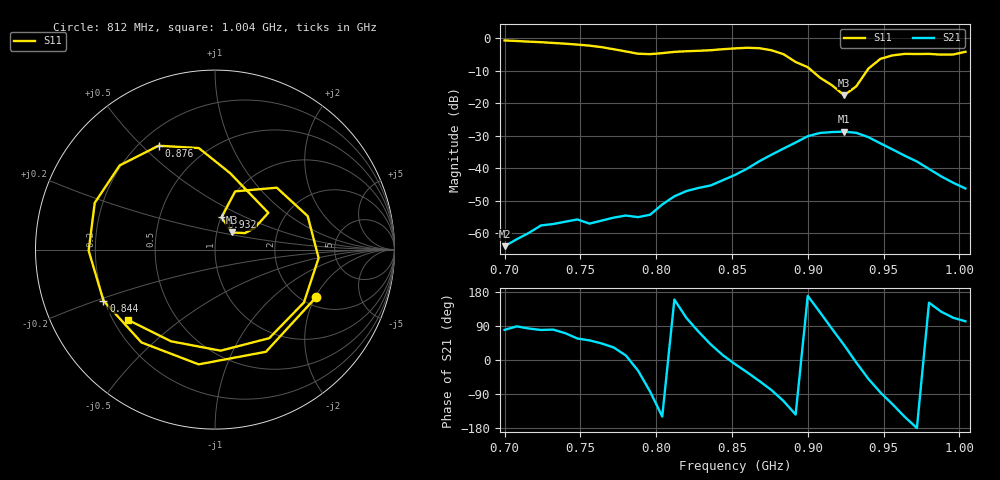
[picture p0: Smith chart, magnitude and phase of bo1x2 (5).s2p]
# Hz S RI R 50
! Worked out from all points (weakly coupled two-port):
!   39 points, 700 MHz to 1.004 GHz, reference 50 ohm
!   highest |S21| = -28.69 dB at 924 MHz (marker M1); lowest = -63.9 dB at 700 MHz (marker M2)
!   lowest |S11| = -17.5 dB at 924 MHz (marker M3), VSWR 1.31, Z = 59.1 + j11.5 ohm
!   |S11| at or under -10 dB: 902.9 MHz to 938.9 MHz (36.06 MHz wide, 3.92 % of centre)
!   S12 and S22 are empty: the file has one direction only
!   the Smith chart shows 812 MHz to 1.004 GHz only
!   S11 on the Smith chart (normalised r, x): 812 MHz: 2.33, -2.03; 844 MHz: 0.20, -0.21; 876 MHz: 0.27, +0.56; 932 MHz: 1.01, +0.37; 1.004 GHz: 0.26, -0.33
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7e8  0.7453 0.5595  0.000115 0.000626  0 0  0 0
7.24e8  0.8445 -0.2368  0.000247 0.0013  0 0  0 0
7.4e8  0.4649 -0.6886  0.000498 0.00143  0 0  0 0
7.56e8  -0.1804 -0.7541  0.000876 0.00111  0 0  0 0
7.72e8  -0.6526 -0.2007  0.00147 0.000954  0 0  0 0
7.8e8  -0.5914 0.2207  0.00185 0.000387  0 0  0 0
7.88e8  -0.2493 0.5265  0.00158 -0.000831  0 0  0 0
7.96e8  0.2337 0.5242  0.000221 -0.00193  0 0  0 0
8.04e8  0.5647 0.1854  -0.00239 -0.00143  0 0  0 0
8.12e8  0.562 -0.2665  -0.00349 0.00131  0 0  0 0
8.28e8  -0.0908 -0.6394  0.00134 0.00483  0 0  0 0
8.44e8  -0.6215 -0.2841  0.00644 0.00145  0 0  0 0
8.52e8  -0.704 -0.00604  0.00781 -0.00148  0 0  0 0
8.76e8  -0.3145 0.5787  0.00305 -0.0159  0 0  0 0
9e8  0.2973 0.2049  -0.0308 0.00585  0 0  0 0
9.08e8  0.2198 0.1195  -0.0208 0.0283  0 0  0 0
9.24e8  0.0938 0.0953  0.0285 0.0232  0 0  0 0
9.32e8  0.0366 0.1796  0.0351 -0.0041  0 0  0 0
9.48e8  0.3441 0.345  0.00171 -0.0242  0 0  0 0
9.56e8  0.5164 0.1867  -0.00891 -0.0174  0 0  0 0
9.8e8  0.3022 -0.4936  -0.00861 0.00472  0 0  0 0
1.004e9  -0.485 -0.3916  -0.00103 0.00481  0 0  0 0
